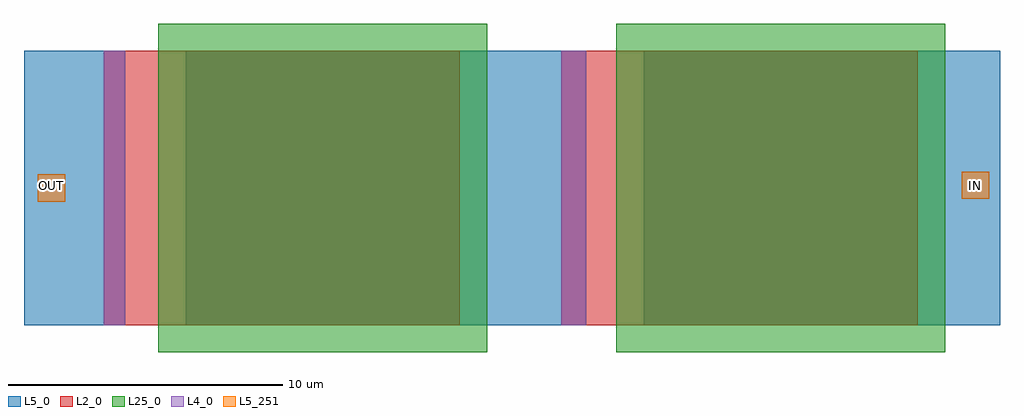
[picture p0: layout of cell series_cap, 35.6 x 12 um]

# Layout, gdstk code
import gdstk
lib = gdstk.Library(unit=1e-6, precision=5e-10)
def R(c, l, rs):  # rectangles x0, y0, x1, y1
    for r in rs: c.add(gdstk.rectangle(r[:2], r[2:], *l))
L2_0 = (2, 0)
L4_0 = (4, 0)
L5_0 = (5, 0)
L5_251 = (5, 251)
L25_0 = (25, 0)

mim_cap = lib.new_cell('mim_cap')
R(mim_cap, L2_0, [(-2,1,-0.6,11), (-2,1,11,11)])
R(mim_cap, L5_0, [(1,1,14,11), (12.6,1,14,11)])
R(mim_cap, L25_0, [(0,0,12,12)])

series_cap = lib.new_cell('series_cap')
R(series_cap, L4_0, [(5.2,17.3,6,27.3), (21.9,17.3,22.8,27.3)])
R(series_cap, L5_0, [(2.3,17.3,6,27.3), (20.4,17.3,22.8,27.3)])
R(series_cap, L5_251, [(2.8,21.8,3.8,22.8), (36.5,21.9,37.5,22.9)])
series_cap.add(gdstk.Reference(mim_cap, (23.9,16.3)))
series_cap.add(gdstk.Reference(mim_cap, (7.2,16.3)))
series_cap.add(gdstk.Label('OUT', (3.3,22.4), layer=5, texttype=251))
series_cap.add(gdstk.Label('IN', (37,22.4), layer=5, texttype=251))

lib.write_gds('series_cap.gds')
